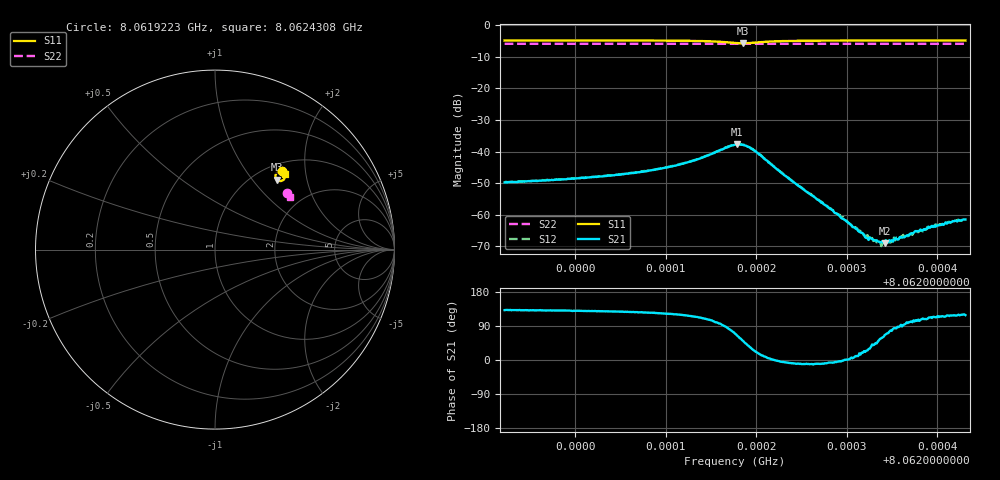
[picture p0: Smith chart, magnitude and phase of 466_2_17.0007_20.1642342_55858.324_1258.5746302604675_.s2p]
#  HZ  S  RI  R  50.00
! Rohde & Schwarz Vector Network Analyzer
! Rohde-Schwarz,ZNB20-2Port,1311601062101988,3.16
! Created: UTC 3/20/2024, 11:12:58 PM
! freq[Hz]  re:S11  im:S11  re:S21  im:S21  re:S12  im:S12  re:S22  im:S22
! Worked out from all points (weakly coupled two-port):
!   401 points, 8.0619223 GHz to 8.0624308 GHz, reference 50 ohm
!   highest |S21| = -37.66 dB at 8.0621791 GHz (marker M1); lowest = -69.1 dB at 8.0623418 GHz (marker M2)
!   lowest |S11| = -5.7 dB at 8.0621855 GHz (marker M3), VSWR 3.16, Z = 62.8 + j67 ohm
!   |S11| at or under -10 dB: nowhere
!   |S22| runs from -5.9 to -5.8 dB; largest |S21 - S12| = 0.00094
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8.06192227e9  0.3719 0.4399  -0.00216 0.00243  -0.00199 0.00259  0.4009 0.3159
8.06200745e9  0.3785 0.4339  -0.00246 0.00298  -0.0023 0.00312  0.4041 0.3115
8.06205068e9  0.3822 0.4297  -0.00265 0.00346  -0.00245 0.00362  0.4057 0.3094
8.06209264e9  0.3862 0.4237  -0.00295 0.00443  -0.00269 0.00462  0.4074 0.307
8.06213078e9  0.3899 0.4124  -0.00304 0.00653  -0.00263 0.00678  0.4086 0.3047
8.06217655e9  0.3617 0.3818  0.0045 0.0121  0.00527 0.0119  0.4085 0.3015
8.0621791e9  0.3567 0.3826  0.00574 0.0118  0.0065 0.0113  0.4083 0.3015
8.06218545e9  0.3445 0.3892  0.00815 0.0098  0.00879 0.00938  0.408 0.3018
8.06219817e9  0.3366 0.4131  0.00936 0.00419  0.00973 0.00376  0.4085 0.3022
8.06222868e9  0.3577 0.4349  0.0045 -0.000385  0.00455 -0.000691  0.4109 0.3015
8.06226174e9  0.3708 0.4347  0.00199 -0.000376  0.00195 -0.000518  0.4124 0.2996
8.06229353e9  0.3774 0.4322  0.000893 -6.11e-05  0.00092 -0.000123  0.4135 0.2979
8.06231641e9  0.3808 0.4307  0.000492 0.000171  0.000498 9.42e-05  0.4147 0.2968
8.0623215e9  0.3813 0.4303  0.00039 0.000178  0.000437 0.000168  0.4149 0.2964
8.06233548e9  0.3828 0.4293  0.000229 0.000298  0.000253 0.000279  0.4155 0.2958
8.06234184e9  0.3836 0.4287  0.000143 0.000321  0.000219 0.000318  0.4155 0.2954
8.06234692e9  0.3842 0.4284  0.000101 0.000382  0.000133 0.000341  0.4157 0.2951
8.06235455e9  0.385 0.4279  4.77e-05 0.000413  6.31e-05 0.000431  0.4161 0.2946
8.06236218e9  0.3857 0.4274  -1.56e-05 0.00044  5.97e-06 0.000482  0.4163 0.2941
8.06236981e9  0.3862 0.4269  -8.97e-05 0.000491  -3.9e-05 0.000488  0.4165 0.2939
8.06239142e9  0.3881 0.4255  -0.000236 0.000578  -0.000227 0.000594  0.4173 0.2927
8.06243084e9  0.3912 0.4232  -0.0004 0.000741  -0.00034 0.000757  0.4187 0.2906
